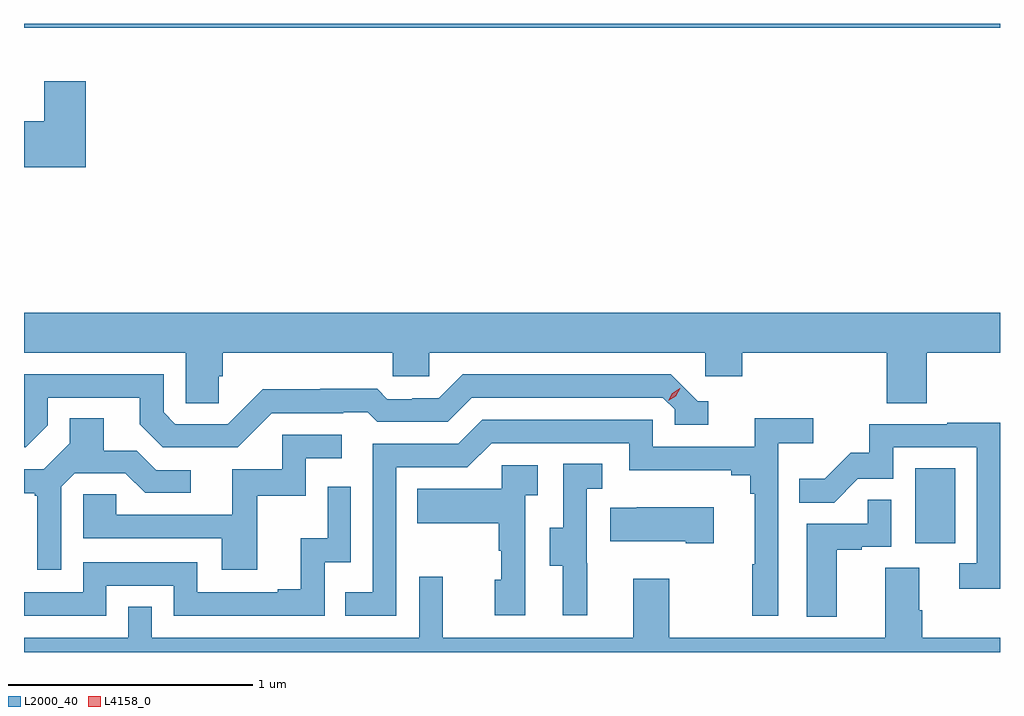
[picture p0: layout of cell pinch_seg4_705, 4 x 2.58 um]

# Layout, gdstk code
import gdstk
lib = gdstk.Library(unit=1e-6, precision=1e-09)
def R(c, l, rs):  # rectangles x0, y0, x1, y1
    for r in rs: c.add(gdstk.rectangle(r[:2], r[2:], *l))
def P(c, l, *ps):  # polygons
    for p in ps: c.add(gdstk.Polygon(p, *l))
L2000_40 = (2000, 40)
L4158_0 = (4158, 0)

pinch_seg4_705 = lib.new_cell('pinch_seg4_705')
R(pinch_seg4_705, L2000_40, [(854.894,830.67,855.058,830.977), (851.242,832.784,855.242,832.799)])
P(pinch_seg4_705, L2000_40, [(851.495,832.564),(851.324,832.564),(851.324,832.399),(851.242,832.399),(851.242,832.211),(851.495,832.211)],
  [(852.041,831.354),(852.056,831.354),(852.056,831.452),(852.753,831.452),(852.753,831.354),(852.903,831.354),(852.903,831.452),(854.034,831.452),(854.034,831.354),(854.186,831.354),(854.186,831.452),(854.777,831.452),(854.777,831.244),(854.942,831.244),(854.942,831.452),(855.242,831.452),(855.242,831.616),(851.242,831.616),(851.242,831.452),(851.904,831.452),(851.904,831.244),(852.041,831.244)],
  [(851.34,831.153),(851.34,831.267),(851.717,831.267),(851.717,831.157),(851.811,831.063),(852.117,831.063),(852.258,831.204),(852.551,831.204),(852.551,831.207),(852.65,831.207),(852.689,831.168),(852.978,831.168),(853.077,831.267),(853.86,831.267),(853.908,831.219),(853.908,831.156),(854.047,831.156),(854.047,831.252),(854.004,831.252),(853.893,831.363),(853.04,831.363),(852.941,831.264),(852.834,831.264),(852.834,831.261),(852.731,831.261),(852.689,831.304),(852.456,831.304),(852.456,831.301),(852.22,831.301),(852.078,831.159),(851.862,831.159),(851.814,831.207),(851.814,831.363),(851.244,831.363),(851.244,831.207),(851.242,831.205),(851.242,831.063),(851.25,831.063)],
  [(852.768,830.982),(853.059,830.982),(853.158,831.081),(853.722,831.081),(853.722,830.969),(854.141,830.969),(854.141,830.95),(854.218,830.95),(854.218,830.873),(854.237,830.873),(854.237,830.585),(854.226,830.585),(854.226,830.373),(854.334,830.373),(854.334,831.08),(854.476,831.08),(854.476,831.182),(854.237,831.182),(854.237,831.066),(853.818,831.066),(853.818,831.177),(853.121,831.177),(853.022,831.078),(852.672,831.078),(852.672,830.469),(852.559,830.469),(852.559,830.373),(852.768,830.373)],
  [(851.394,830.901),(851.451,830.958),(851.657,830.958),(851.738,830.877),(851.926,830.877),(851.926,830.97),(851.784,830.97),(851.704,831.05),(851.569,831.05),(851.569,831.182),(851.429,831.182),(851.429,831.08),(851.322,830.973),(851.242,830.973),(851.242,830.876),(851.286,830.876),(851.286,830.865),(851.297,830.865),(851.297,830.562),(851.394,830.562)],
  [(855.242,831.164),(855.025,831.164),(855.025,831.159),(854.707,831.159),(854.707,831.042),(854.63,831.042),(854.523,830.935),(854.419,830.935),(854.419,830.836),(854.562,830.836),(854.66,830.934),(854.805,830.934),(854.805,831.063),(855.147,831.063),(855.147,830.589),(855.075,830.589),(855.075,830.484),(855.242,830.484)],
  [(852.197,830.865),(852.396,830.865),(852.396,831.018),(852.544,831.018),(852.544,831.114),(852.3,831.114),(852.3,830.973),(852.095,830.973),(852.095,830.787),(851.621,830.787),(851.621,830.871),(851.484,830.871),(851.484,830.691),(852.053,830.691),(852.053,830.562),(852.197,830.562)],
  [(853.55,830.589),(853.548,830.589),(853.548,830.893),(853.612,830.893),(853.612,830.996),(853.452,830.996),(853.452,830.733),(853.397,830.733),(853.397,830.578),(853.451,830.578),(853.451,830.376),(853.55,830.376)],
  [(853.296,830.867),(853.348,830.867),(853.348,830.991),(853.2,830.991),(853.2,830.893),(852.853,830.893),(852.853,830.753),(853.188,830.753),(853.188,830.639),(853.198,830.639),(853.198,830.52),(853.172,830.52),(853.172,830.376),(853.296,830.376)],
  [(851.58,830.496),(851.856,830.496),(851.856,830.373),(852.474,830.373),(852.474,830.592),(852.582,830.592),(852.582,830.902),(852.486,830.902),(852.486,830.69),(852.377,830.69),(852.377,830.482),(852.281,830.482),(852.281,830.469),(851.952,830.469),(851.952,830.592),(851.484,830.592),(851.484,830.469),(851.242,830.469),(851.242,830.373),(851.58,830.373)],
  [(854.572,830.643),(854.675,830.643),(854.675,830.655),(854.796,830.655),(854.796,830.849),(854.701,830.849),(854.701,830.751),(854.45,830.751),(854.45,830.369),(854.572,830.369)],
  [(854.068,830.818),(853.753,830.818),(853.753,830.815),(853.645,830.815),(853.645,830.678),(853.955,830.678),(853.955,830.671),(854.068,830.671)],
  [(855.242,830.284),(854.924,830.284),(854.924,830.396),(854.911,830.396),(854.911,830.57),(854.771,830.57),(854.771,830.284),(853.887,830.284),(853.887,830.524),(853.739,830.524),(853.739,830.284),(852.959,830.284),(852.959,830.533),(852.861,830.533),(852.861,830.284),(851.766,830.284),(851.766,830.411),(851.67,830.411),(851.67,830.284),(851.242,830.284),(851.242,830.224),(855.242,830.224)])
P(pinch_seg4_705, L4158_0, [(853.883,831.254),(853.883,831.254),(853.899,831.286),(853.93,831.305),(853.931,831.305),(853.931,831.305),(853.914,831.273),(853.883,831.254)])

lib.write_gds('pinch_seg4_705.gds')
